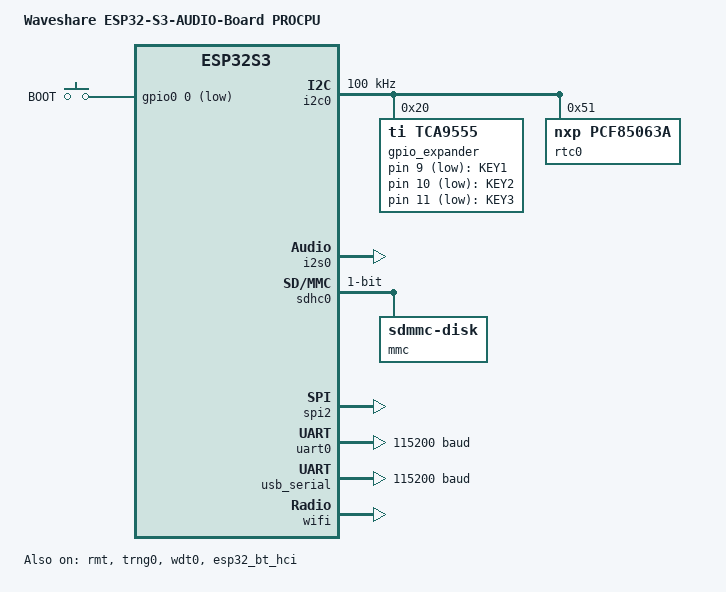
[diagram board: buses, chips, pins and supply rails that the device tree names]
/*
 * SPDX-FileCopyrightText: Copyright The Zephyr Project Contributors
 * SPDX-License-Identifier: Apache-2.0
 */

/dts-v1/;

#include <espressif/esp32s3/esp32s3.dtsi>
#include <espressif/partitions_0x0_amp_16M.dtsi>
#include <zephyr/dt-bindings/input/input-event-codes.h>
#include <zephyr/dt-bindings/led/led.h>
#include "esp32s3_audio-pinctrl.dtsi"

/ {
	compatible = "waveshare,esp32s3-audio";
	model = "Waveshare ESP32-S3-AUDIO-Board PROCPU";

	aliases {
		i2c-0 = &i2c0;
		i2s-rx = &i2s0;
		i2s-tx = &i2s0;
		led-strip = &led_strip;
		rtc = &rtc0;
		sdhc0 = &sdhc0;
		sw0 = &button0;
		sw1 = &button1;
		sw2 = &button2;
		sw3 = &button3;
		uart-0 = &uart0;
		watchdog0 = &wdt0;
	};

	chosen {
		zephyr,sram = &sram1;
		zephyr,console = &usb_serial;
		zephyr,shell-uart = &usb_serial;
		zephyr,flash = &flash0;
		zephyr,code-partition = &slot0_partition;
		zephyr,bt-hci = &esp32_bt_hci;
	};

	buttons {
		compatible = "gpio-keys";

		button0: button-0 {
			gpios = <&gpio0 0 (GPIO_PULL_UP | GPIO_ACTIVE_LOW)>;
			label = "BOOT";
			zephyr,code = <INPUT_KEY_0>;
		};
	};

	user-buttons {
		compatible = "gpio-keys";
		/* The expander interrupt is not connected on the stock board. */
		polling-mode;
		zephyr,suspend-action = "none";

		button1: button-1 {
			gpios = <&gpio_expander 9 GPIO_ACTIVE_LOW>;
			label = "KEY1";
			zephyr,code = <INPUT_KEY_1>;
		};

		button2: button-2 {
			gpios = <&gpio_expander 10 GPIO_ACTIVE_LOW>;
			label = "KEY2";
			zephyr,code = <INPUT_KEY_2>;
		};

		button3: button-3 {
			gpios = <&gpio_expander 11 GPIO_ACTIVE_LOW>;
			label = "KEY3";
			zephyr,code = <INPUT_KEY_3>;
		};
	};

	led_strip: led-strip {
		compatible = "worldsemi,ws2812-pulse-io";
		pulse-ios = <&rmt 0>;
		chain-length = <7>;
		color-mapping = <LED_COLOR_ID_GREEN LED_COLOR_ID_RED LED_COLOR_ID_BLUE>;
		reset-delay = <300>;
	};
};

&flash0 {
	reg = <0x0 DT_SIZE_M(16)>;
	ranges = <0x0 0x0 DT_SIZE_M(16)>;
};

&psram0 {
	size = <DT_SIZE_M(8)>;
};

&gpio0 {
	status = "okay";
};

&gpio1 {
	status = "okay";
};

&i2c0 {
	clock-frequency = <I2C_BITRATE_STANDARD>;
	pinctrl-0 = <&i2c0_default>;
	pinctrl-names = "default";
	status = "okay";

	gpio_expander: gpio@20 {
		compatible = "ti,tca9555", "nxp,pca9555";
		reg = <0x20>;
		gpio-controller;
		#gpio-cells = <2>;
		ngpios = <16>;
	};

	rtc0: rtc@51 {
		compatible = "nxp,pcf85063a";
		reg = <0x51>;
	};
};

&i2s0 {
	pinctrl-0 = <&i2s0_default>;
	pinctrl-names = "default";
	status = "okay";
};

&dma {
	status = "okay";
};

&rmt {
	pinctrl-0 = <&rmt_default>;
	pinctrl-names = "default";
	status = "okay";
};

&sdhc0 {
	pinctrl-0 = <&sdhc0_default>;
	pinctrl-names = "default";
	max-bus-freq = <20000000>;
	bus-width = <1>;
	status = "okay";

	mmc {
		compatible = "zephyr,sdmmc-disk";
		disk-name = "SD";
	};
};

&spi2 {
	#address-cells = <1>;
	#size-cells = <0>;
	pinctrl-0 = <&spim2_default>;
	pinctrl-names = "default";
	cs-gpios = <&gpio0 3 GPIO_ACTIVE_LOW>;
	status = "okay";
};

&uart0 {
	current-speed = <115200>;
	pinctrl-0 = <&uart0_default>;
	pinctrl-names = "default";
	status = "okay";
};

&usb_serial {
	current-speed = <115200>;
	status = "okay";
};

&trng0 {
	status = "okay";
};

&wdt0 {
	status = "okay";
};

&esp32_bt_hci {
	status = "okay";
};

&wifi {
	status = "okay";
};
